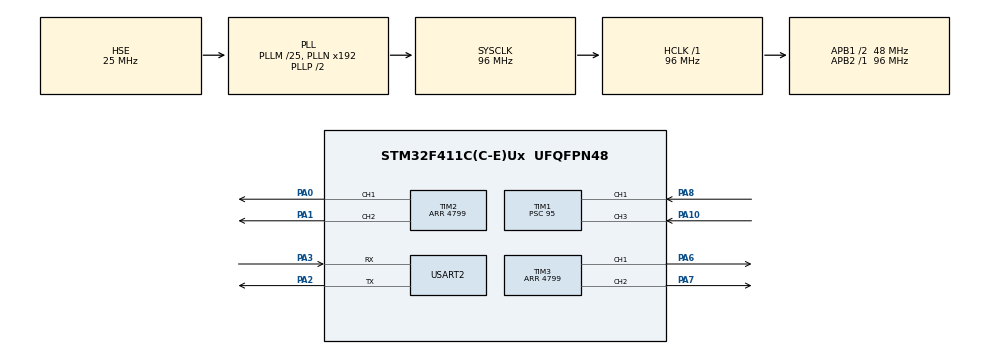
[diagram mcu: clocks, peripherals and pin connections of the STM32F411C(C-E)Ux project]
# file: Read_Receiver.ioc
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Mcu.Family=STM32F4
Mcu.Name=STM32F411C(C-E)Ux
Mcu.Package=UFQFPN48
NVIC.PriorityGroup=NVIC_PRIORITYGROUP_4
NVIC.TIM1_CC_IRQn=true\:0\:0\:false\:false\:true\:true\:true\:true
PA0-WKUP.Signal=S_TIM2_CH1_ETR
PA1.Signal=S_TIM2_CH2
PA10.Signal=S_TIM1_CH3
PA13.Mode=Serial_Wire
PA13.Signal=SYS_JTMS-SWDIO
PA14.Mode=Serial_Wire
PA14.Signal=SYS_JTCK-SWCLK
PA2.Mode=Asynchronous
PA2.Signal=USART2_TX
PA3.Mode=Asynchronous
PA3.Signal=USART2_RX
PA6.Signal=S_TIM3_CH1
PA7.Signal=S_TIM3_CH2
PA8.Signal=S_TIM1_CH1
PH0\ -\ OSC_IN.Mode=HSE-External-Oscillator
PH0\ -\ OSC_IN.Signal=RCC_OSC_IN
PH1\ -\ OSC_OUT.Mode=HSE-External-Oscillator
PH1\ -\ OSC_OUT.Signal=RCC_OSC_OUT
ProjectManager.HeapSize=0x200
ProjectManager.StackSize=0x400
ProjectManager.TargetToolchain=STM32CubeIDE
RCC.48MHZClocksFreq_Value=48000000
RCC.AHBFreq_Value=96000000
RCC.APB1CLKDivider=RCC_HCLK_DIV2
RCC.APB1Freq_Value=48000000
RCC.APB1TimFreq_Value=96000000
RCC.APB2Freq_Value=96000000
RCC.APB2TimFreq_Value=96000000
RCC.CortexFreq_Value=96000000
RCC.HCLKFreq_Value=96000000
RCC.HSE_VALUE=25000000
RCC.HSI_VALUE=16000000
RCC.LSE_VALUE=32768
RCC.PLLM=25
RCC.PLLSourceVirtual=RCC_PLLSOURCE_HSE
RCC.SYSCLKFreq_VALUE=96000000
RCC.SYSCLKSource=RCC_SYSCLKSOURCE_PLLCLK
RCC.VCOOutputFreq_Value=192000000
SH.S_TIM1_CH1.0=TIM1_CH1,Input_Capture1_from_TI1
SH.S_TIM1_CH3.0=TIM1_CH3,Input_Capture3_from_TI3
SH.S_TIM2_CH1_ETR.0=TIM2_CH1,PWM Generation1 CH1
SH.S_TIM2_CH2.0=TIM2_CH2,PWM Generation2 CH2
SH.S_TIM3_CH1.0=TIM3_CH1,PWM Generation1 CH1
SH.S_TIM3_CH2.0=TIM3_CH2,PWM Generation2 CH2
TIM1.Channel-Input_Capture1_from_TI1=TIM_CHANNEL_1
TIM1.Channel-Input_Capture2_from_TI1_63=TIM_CHANNEL_2
TIM1.Channel-Input_Capture3_from_TI3=TIM_CHANNEL_3
TIM1.Channel-Input_Capture4_from_TI3_63=TIM_CHANNEL_4
TIM1.ICPolarity_CH2=TIM_INPUTCHANNELPOLARITY_FALLING
TIM1.ICPolarity_CH4=TIM_INPUTCHANNELPOLARITY_FALLING
TIM1.Prescaler=95
TIM2.Channel-PWM\ Generation1\ CH1=TIM_CHANNEL_1
TIM2.Channel-PWM\ Generation2\ CH2=TIM_CHANNEL_2
TIM2.Period=4799
TIM2.Pulse-PWM\ Generation1\ CH1=2400
TIM2.Pulse-PWM\ Generation2\ CH2=2400
TIM3.Channel-PWM\ Generation1\ CH1=TIM_CHANNEL_1
TIM3.Channel-PWM\ Generation2\ CH2=TIM_CHANNEL_2
TIM3.Period=4799
TIM3.Pulse-PWM\ Generation1\ CH1=2400
TIM3.Pulse-PWM\ Generation2\ CH2=2400
USART2.VirtualMode=VM_ASYNC
VP_TIM1_VS_indirect_ch1.Mode=Input_Capture2_from_TI1_63
VP_TIM1_VS_indirect_ch3.Mode=Input_Capture4_from_TI3_63
VP_TIM2_VS_ClockSourceINT.Mode=Internal
VP_TIM3_VS_ClockSourceINT.Mode=Internal
board=custom

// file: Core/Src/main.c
/* USER CODE BEGIN Header */
/**
  ******************************************************************************
  * @file           : main.c
  * @brief          : Main program body for the ME 507 term project. The main contents of this file is the finite state machine that
  * 				  controls the prosthetic hand operation. This includes the tasks to open and close the hand and spin the hand
  * 				  from left to right. Lastly, there is a task to check for an emergency stop signal from a radio transmitter device.
  *
  * @authors		: Julia Fay & Jack Foxcroft
  *
  ******************************************************************************
  * @attention
  *
  * Copyright (c) 2024 STMicroelectronics.
  * All rights reserved.
  *
  * This software is licensed under terms that can be found in the LICENSE file
  * in the root directory of this software component.
  * If no LICENSE file comes with this software, it is provided AS-IS.
  *
  ******************************************************************************
  */
/* USER CODE END Header */
#include "main.h"

/* USER CODE BEGIN Includes */

#include <stdint.h>
#include <stdio.h>

/* USER CODE END Includes */

TIM_HandleTypeDef htim1;
TIM_HandleTypeDef htim2;
TIM_HandleTypeDef htim3;

UART_HandleTypeDef huart2;

/* USER CODE BEGIN PV */
uint16_t ch1_val;
uint16_t ch2_val;
uint16_t ch1_p;
uint16_t ch2_p;
uint16_t m1_d;
uint16_t m2_d;
int16_t pwm_sig;
char print_buff[150];
int n;

char print_buff[150];
int n;
/* USER CODE END PV */

void SystemClock_Config(void);
static void MX_GPIO_Init(void);
static void MX_TIM1_Init(void);
static void MX_TIM3_Init(void);
static void MX_USART2_UART_Init(void);
static void MX_TIM2_Init(void);

/* USER CODE BEGIN 0 */

int check_delta(int16_t pulse_width)
{
	//if the delta value is invalid, return -50000 as this is outside the range
	//for pwm values and can be checked in an if statement later in the code to
	//indicate that the signal is invalid
	if(pulse_width < 950)
	{
		return -50000;
	}
	else if(pulse_width > 2050)
	{
		return -50000;
	}
	else
	{
			//convert delta into a valid range for pwm generation if the delta value is valid
			pwm_sig = ((delta-1500)*4799)/500;
			return pwm_sig;
	}
}

/* USER CODE END 0 */

int main(void)
{

  /* USER CODE BEGIN 1 */

	// Initialize motor objects

  /* USER CODE END 1 */

  /* MCU Configuration--------------------------------------------------------*/

  /* Reset of all peripherals, Initializes the Flash interface and the Systick. */
  HAL_Init();

  /* Configure the system clock */
  SystemClock_Config();

  /* Initialize all configured peripherals */
  MX_GPIO_Init();
  MX_TIM1_Init();
  MX_TIM3_Init();
  MX_USART2_UART_Init();
  MX_TIM2_Init();
  /* USER CODE BEGIN 2 */

  //create motor objects

	motor_t mot1 = {.duty    = 0,
			.channel1 = TIM_CHANNEL_1,
			.channel2 = TIM_CHANNEL_2,
			.hal_tim = &htim2
	};
	motor_t mot2 = {.duty    = 0,
			.channel1 = TIM_CHANNEL_1,
			.channel2 = TIM_CHANNEL_2,
			.hal_tim = &htim3
	};

//initialize the motors to be at rest
  start_PWM(&mot1, 1);
  start_PWM(&mot1, 2);
  start_PWM(&mot2, 1);
  start_PWM(&mot2, 2);
  set_duty(&mot1,0);
  set_duty(&mot2,0);

//start the interrupts
  HAL_TIM_IC_Start_IT (&htim1, TIM_CHANNEL_1);
  HAL_TIM_IC_Start_IT (&htim1, TIM_CHANNEL_2);
  HAL_TIM_IC_Start_IT (&htim1, TIM_CHANNEL_3);
  HAL_TIM_IC_Start_IT (&htim1, TIM_CHANNEL_4);

  /* USER CODE END 2 */

  /* Infinite loop */
  while (1)
  {

    /* USER CODE BEGIN 3 */

	  //print statements to keep track of values
	  n = sprintf(print_buff,"\n\rThe Motor 1 delta is %d",m1_d);
	  HAL_UART_Transmit(&huart2,print_buff,n,400);

	  n = sprintf(print_buff,"\n\rThe Channel 1 value is %d",ch1_p);
	  HAL_UART_Transmit(&huart2,print_buff,n,400);

	  n = sprintf(print_buff,"\n\rThe Channel 2 value is %d",ch1_val);
	  HAL_UART_Transmit(&huart2,print_buff,n,400);

	  n = sprintf(print_buff,"\n\rThe Motor 2 delta is %d",m2_d);
	  HAL_UART_Transmit(&huart2,print_buff,n,400);

	  n = sprintf(print_buff,"\n\rThe Channel 3 value is %d",ch2_p);
	  HAL_UART_Transmit(&huart2,print_buff,n,400);

	  n = sprintf(print_buff,"\n\rThe Channel 4 value is %d",ch2_val);
	  HAL_UART_Transmit(&huart2,print_buff,n,400);

	  n = sprintf(print_buff,"\n\rThe PWM value is %d",pwm_sig);
	  HAL_UART_Transmit(&huart2,print_buff,n,400);

	  //check if the signal is valid. If the signal is valid, update the duty cycle

	  if(check_delta(m1_d) != -5000)
	  {
		  set_duty(&mot1,check_delta(m1_d));
	  }
	  if(check_delta(m2_d) != -5000)
	  	  {
	  		  set_duty(&mot2,check_delta(m2_d));
	  	  }
  }

  /* USER CODE END 3 */
}

void SystemClock_Config(void)
{
  RCC_OscInitTypeDef RCC_OscInitStruct = {0};
  RCC_ClkInitTypeDef RCC_ClkInitStruct = {0};

  /** Configure the main internal regulator output voltage
  */
  __HAL_RCC_PWR_CLK_ENABLE();
  __HAL_PWR_VOLTAGESCALING_CONFIG(PWR_REGULATOR_VOLTAGE_SCALE1);

  /** Initializes the RCC Oscillators according to the specified parameters
  * in the RCC_OscInitTypeDef structure.
  */
  RCC_OscInitStruct.OscillatorType = RCC_OSCILLATORTYPE_HSE;
  RCC_OscInitStruct.HSEState = RCC_HSE_ON;
  RCC_OscInitStruct.PLL.PLLState = RCC_PLL_ON;
  RCC_OscInitStruct.PLL.PLLSource = RCC_PLLSOURCE_HSE;
  RCC_OscInitStruct.PLL.PLLM = 25;
  RCC_OscInitStruct.PLL.PLLN = 192;
  RCC_OscInitStruct.PLL.PLLP = RCC_PLLP_DIV2;
  RCC_OscInitStruct.PLL.PLLQ = 4;
  if (HAL_RCC_OscConfig(&RCC_OscInitStruct) != HAL_OK)
  {
    Error_Handler();
  }

  /** Initializes the CPU, AHB and APB buses clocks
  */
  RCC_ClkInitStruct.ClockType = RCC_CLOCKTYPE_HCLK|RCC_CLOCKTYPE_SYSCLK
                              |RCC_CLOCKTYPE_PCLK1|RCC_CLOCKTYPE_PCLK2;
  RCC_ClkInitStruct.SYSCLKSource = RCC_SYSCLKSOURCE_PLLCLK;
  RCC_ClkInitStruct.AHBCLKDivider = RCC_SYSCLK_DIV1;
  RCC_ClkInitStruct.APB1CLKDivider = RCC_HCLK_DIV2;
  RCC_ClkInitStruct.APB2CLKDivider = RCC_HCLK_DIV1;

  if (HAL_RCC_ClockConfig(&RCC_ClkInitStruct, FLASH_LATENCY_3) != HAL_OK)
  {
    Error_Handler();
  }
}

static void MX_TIM1_Init(void)
{

  TIM_MasterConfigTypeDef sMasterConfig = {0};
  TIM_IC_InitTypeDef sConfigIC = {0};

  htim1.Instance = TIM1;
  htim1.Init.Prescaler = 95;
  htim1.Init.CounterMode = TIM_COUNTERMODE_UP;
  htim1.Init.Period = 65535;
  htim1.Init.ClockDivision = TIM_CLOCKDIVISION_DIV1;
  htim1.Init.RepetitionCounter = 0;
  htim1.Init.AutoReloadPreload = TIM_AUTORELOAD_PRELOAD_DISABLE;
  if (HAL_TIM_IC_Init(&htim1) != HAL_OK)
  {
    Error_Handler();
  }
  sMasterConfig.MasterOutputTrigger = TIM_TRGO_RESET;
  sMasterConfig.MasterSlaveMode = TIM_MASTERSLAVEMODE_DISABLE;
  if (HAL_TIMEx_MasterConfigSynchronization(&htim1, &sMasterConfig) != HAL_OK)
  {
    Error_Handler();
  }
  sConfigIC.ICPolarity = TIM_INPUTCHANNELPOLARITY_RISING;
  sConfigIC.ICSelection = TIM_ICSELECTION_DIRECTTI;
  sConfigIC.ICPrescaler = TIM_ICPSC_DIV1;
  sConfigIC.ICFilter = 0;
  if (HAL_TIM_IC_ConfigChannel(&htim1, &sConfigIC, TIM_CHANNEL_1) != HAL_OK)
  {
    Error_Handler();
  }
  sConfigIC.ICPolarity = TIM_INPUTCHANNELPOLARITY_FALLING;
  sConfigIC.ICSelection = TIM_ICSELECTION_INDIRECTTI;
  if (HAL_TIM_IC_ConfigChannel(&htim1, &sConfigIC, TIM_CHANNEL_2) != HAL_OK)
  {
    Error_Handler();
  }
  sConfigIC.ICPolarity = TIM_INPUTCHANNELPOLARITY_RISING;
  sConfigIC.ICSelection = TIM_ICSELECTION_DIRECTTI;
  if (HAL_TIM_IC_ConfigChannel(&htim1, &sConfigIC, TIM_CHANNEL_3) != HAL_OK)
  {
    Error_Handler();
  }
  sConfigIC.ICPolarity = TIM_INPUTCHANNELPOLARITY_FALLING;
  sConfigIC.ICSelection = TIM_ICSELECTION_INDIRECTTI;
  if (HAL_TIM_IC_ConfigChannel(&htim1, &sConfigIC, TIM_CHANNEL_4) != HAL_OK)
  {
    Error_Handler();
  }

}

static void MX_TIM2_Init(void)
{

  TIM_ClockConfigTypeDef sClockSourceConfig = {0};
  TIM_MasterConfigTypeDef sMasterConfig = {0};
  TIM_OC_InitTypeDef sConfigOC = {0};

  htim2.Instance = TIM2;
  htim2.Init.Prescaler = 0;
  htim2.Init.CounterMode = TIM_COUNTERMODE_UP;
  htim2.Init.Period = 4799;
  htim2.Init.ClockDivision = TIM_CLOCKDIVISION_DIV1;
  htim2.Init.AutoReloadPreload = TIM_AUTORELOAD_PRELOAD_DISABLE;
  if (HAL_TIM_Base_Init(&htim2) != HAL_OK)
  {
    Error_Handler();
  }
  sClockSourceConfig.ClockSource = TIM_CLOCKSOURCE_INTERNAL;
  if (HAL_TIM_ConfigClockSource(&htim2, &sClockSourceConfig) != HAL_OK)
  {
    Error_Handler();
  }
  if (HAL_TIM_PWM_Init(&htim2) != HAL_OK)
  {
    Error_Handler();
  }
  sMasterConfig.MasterOutputTrigger = TIM_TRGO_RESET;
  sMasterConfig.MasterSlaveMode = TIM_MASTERSLAVEMODE_DISABLE;
  if (HAL_TIMEx_MasterConfigSynchronization(&htim2, &sMasterConfig) != HAL_OK)
  {
    Error_Handler();
  }
  sConfigOC.OCMode = TIM_OCMODE_PWM1;
  sConfigOC.Pulse = 2400;
  sConfigOC.OCPolarity = TIM_OCPOLARITY_HIGH;
  sConfigOC.OCFastMode = TIM_OCFAST_DISABLE;
  if (HAL_TIM_PWM_ConfigChannel(&htim2, &sConfigOC, TIM_CHANNEL_1) != HAL_OK)
  {
    Error_Handler();
  }
  if (HAL_TIM_PWM_ConfigChannel(&htim2, &sConfigOC, TIM_CHANNEL_2) != HAL_OK)
  {
    Error_Handler();
  }
  HAL_TIM_MspPostInit(&htim2);

}

static void MX_TIM3_Init(void)
{

  TIM_ClockConfigTypeDef sClockSourceConfig = {0};
  TIM_MasterConfigTypeDef sMasterConfig = {0};
  TIM_OC_InitTypeDef sConfigOC = {0};

  htim3.Instance = TIM3;
  htim3.Init.Prescaler = 0;
  htim3.Init.CounterMode = TIM_COUNTERMODE_UP;
  htim3.Init.Period = 4799;
  htim3.Init.ClockDivision = TIM_CLOCKDIVISION_DIV1;
  htim3.Init.AutoReloadPreload = TIM_AUTORELOAD_PRELOAD_DISABLE;
  if (HAL_TIM_Base_Init(&htim3) != HAL_OK)
  {
    Error_Handler();
  }
  sClockSourceConfig.ClockSource = TIM_CLOCKSOURCE_INTERNAL;
  if (HAL_TIM_ConfigClockSource(&htim3, &sClockSourceConfig) != HAL_OK)
  {
    Error_Handler();
  }
  if (HAL_TIM_PWM_Init(&htim3) != HAL_OK)
  {
    Error_Handler();
  }
  sMasterConfig.MasterOutputTrigger = TIM_TRGO_RESET;
  sMasterConfig.MasterSlaveMode = TIM_MASTERSLAVEMODE_DISABLE;
  if (HAL_TIMEx_MasterConfigSynchronization(&htim3, &sMasterConfig) != HAL_OK)
  {
    Error_Handler();
  }
  sConfigOC.OCMode = TIM_OCMODE_PWM1;
  sConfigOC.Pulse = 2400;
  sConfigOC.OCPolarity = TIM_OCPOLARITY_HIGH;
  sConfigOC.OCFastMode = TIM_OCFAST_DISABLE;
  if (HAL_TIM_PWM_ConfigChannel(&htim3, &sConfigOC, TIM_CHANNEL_1) != HAL_OK)
  {
    Error_Handler();
  }
  if (HAL_TIM_PWM_ConfigChannel(&htim3, &sConfigOC, TIM_CHANNEL_2) != HAL_OK)
  {
    Error_Handler();
  }
  HAL_TIM_MspPostInit(&htim3);

}

static void MX_USART2_UART_Init(void)
{

  huart2.Instance = USART2;
  huart2.Init.BaudRate = 115200;
  huart2.Init.WordLength = UART_WORDLENGTH_8B;
  huart2.Init.StopBits = UART_STOPBITS_1;
  huart2.Init.Parity = UART_PARITY_NONE;
  huart2.Init.Mode = UART_MODE_TX_RX;
  huart2.Init.HwFlowCtl = UART_HWCONTROL_NONE;
  huart2.Init.OverSampling = UART_OVERSAMPLING_16;
  if (HAL_UART_Init(&huart2) != HAL_OK)
  {
    Error_Handler();
  }

}

static void MX_GPIO_Init(void)
{

  /* GPIO Ports Clock Enable */
  __HAL_RCC_GPIOH_CLK_ENABLE();
  __HAL_RCC_GPIOA_CLK_ENABLE();

}

/* USER CODE BEGIN 4 */

/**
  * @brief  Input Capture callback in non-blocking mode
  * @param  htim TIM IC handle
  * @retval None
  */
void HAL_TIM_IC_CaptureCallback(TIM_HandleTypeDef *htim)
{
  /* Prevent unused argument(s) compilation warning */
  UNUSED(htim);

  /* NOTE : This function should not be modified, when the callback is needed,
   *
            the HAL_TIM_IC_CaptureCallback could be implemented in the user file
   */
  if (htim->Channel == HAL_TIM_ACTIVE_CHANNEL_2) {
          //store the previous value and read the captured value from the input capture register
	  	  ch1_p = HAL_TIM_ReadCapturedValue(htim, TIM_CHANNEL_1);
	      ch1_val = HAL_TIM_ReadCapturedValue(htim, TIM_CHANNEL_2);

	      //calculate the width of the pwm pulse generated by the radio transmitter
	      m1_d = ch1_val - ch1_p;
  }
  if (htim->Channel == HAL_TIM_ACTIVE_CHANNEL_4) {
	      //store the previous value and read the captured value from the input capture register
	  	  ch2_p = HAL_TIM_ReadCapturedValue(htim, TIM_CHANNEL_3);
	      ch2_val = HAL_TIM_ReadCapturedValue(htim, TIM_CHANNEL_4);

	      //calculate the width of the pwm pulse generated by the radio transmitter
	      m2_d = ch2_val - ch2_p;
  }

}

/* USER CODE END 4 */

void Error_Handler(void)
{
  __disable_irq();
  while (1)
  {
  }
}
